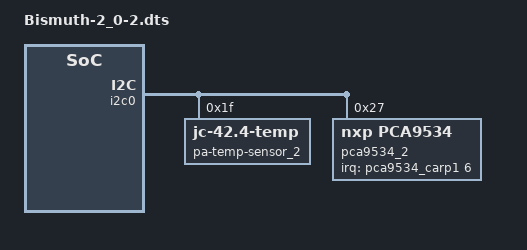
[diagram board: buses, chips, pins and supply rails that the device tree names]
/dts-v1/;
/plugin/;


/ {
    fragment@0 {
        target = <&i2c0>;
        __overlay__ {
            pa-temp-sensor_2@1F {
                compatible = "jedec,jc-42.4-temp";
                reg = <0x1F>;
            };


            pca9534_2@27 {
                compatible = "nxp,pca9534";
                reg = <0x27>;
                gpio-controller;
                #gpio-cells = <2>;
                interrupt-parent = <&pca9534_carp1>;
                interrupts = <6 2>; /* IRQ_TYPE_LEVEL_LOW IRQ_TYPE_EDGE_FALLING */
            };
        };
    };

    
};
